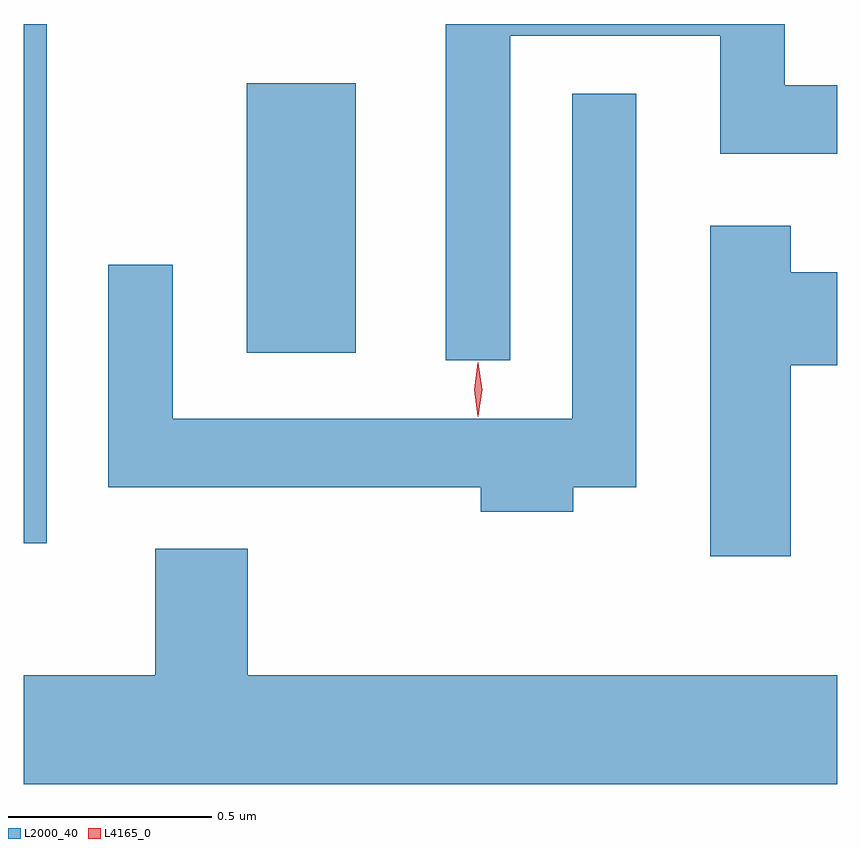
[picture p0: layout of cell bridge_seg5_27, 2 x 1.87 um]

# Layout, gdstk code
import gdstk
lib = gdstk.Library(unit=1e-6, precision=1e-09)
def R(c, l, rs):  # rectangles x0, y0, x1, y1
    for r in rs: c.add(gdstk.rectangle(r[:2], r[2:], *l))
def P(c, l, *ps):  # polygons
    for p in ps: c.add(gdstk.Polygon(p, *l))
L2000_40 = (2000, 40)
L4165_0 = (4165, 0)

bridge_seg5_27 = lib.new_cell('bridge_seg5_27')
R(bridge_seg5_27, L2000_40, [(1244.798,1472.928,1244.854,1474.205), (1245.346,1473.396,1245.614,1474.059)])
P(bridge_seg5_27, L2000_40, [(1245.994,1474.176),(1246.511,1474.176),(1246.511,1473.886),(1246.798,1473.886),(1246.798,1474.054),(1246.669,1474.054),(1246.669,1474.205),(1245.836,1474.205),(1245.836,1473.378),(1245.994,1473.378)],
  [(1246.149,1473.066),(1246.304,1473.066),(1246.304,1474.033),(1246.146,1474.033),(1246.146,1473.234),(1245.164,1473.234),(1245.164,1473.613),(1245.006,1473.613),(1245.006,1473.066),(1245.921,1473.066),(1245.921,1473.006),(1246.149,1473.006)],
  [(1246.684,1473.366),(1246.798,1473.366),(1246.798,1473.594),(1246.684,1473.594),(1246.684,1473.709),(1246.486,1473.709),(1246.486,1472.896),(1246.684,1472.896)],
  [(1246.798,1472.604),(1245.349,1472.604),(1245.349,1472.914),(1245.121,1472.914),(1245.121,1472.604),(1244.798,1472.604),(1244.798,1472.336),(1246.798,1472.336)])
P(bridge_seg5_27, L4165_0, [(1245.915,1473.239),(1245.914,1473.24),(1245.905,1473.306),(1245.914,1473.372),(1245.915,1473.373),(1245.915,1473.372),(1245.925,1473.306),(1245.915,1473.24)])

lib.write_gds('bridge_seg5_27.gds')
